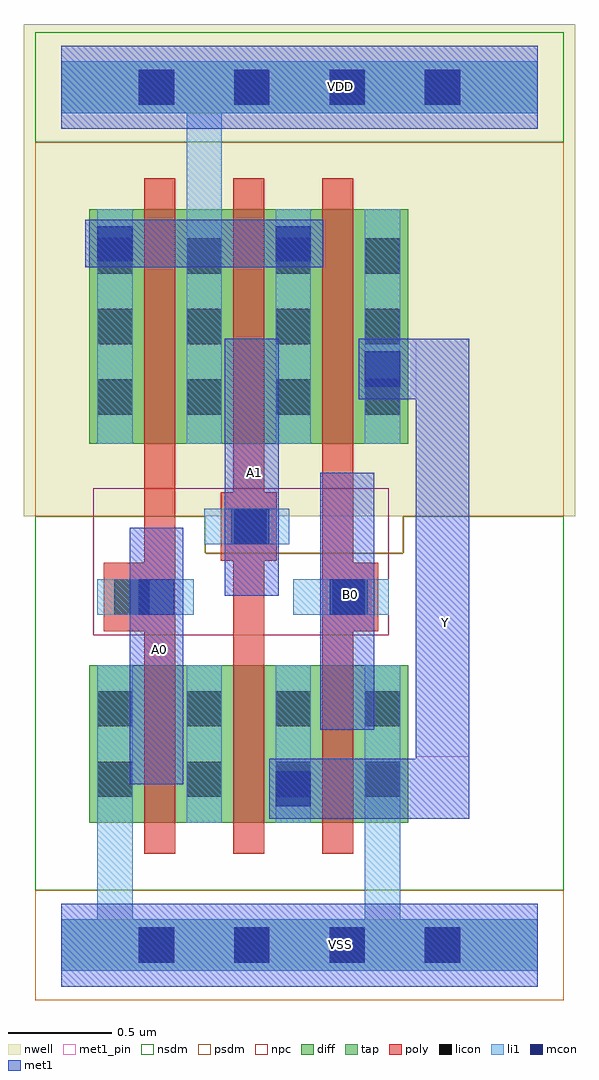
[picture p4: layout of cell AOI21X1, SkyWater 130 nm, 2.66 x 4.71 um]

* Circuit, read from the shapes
.subckt AOI21X1 A0 A1 B0 VDD VSS Y
XM1 n1 A0 VSS VSS sky130_fd_pr__nfet_01v8 w=0.76 l=0.15
XM2 Y A1 n1 VSS sky130_fd_pr__nfet_01v8 w=0.76 l=0.15
XM3 VSS B0 Y VSS sky130_fd_pr__nfet_01v8 w=0.76 l=0.15
XM4 VDD A0 n2 VDD sky130_fd_pr__pfet_01v8 w=1.13 l=0.15
XM5 n2 A1 VDD VDD sky130_fd_pr__pfet_01v8 w=1.13 l=0.15
XM6 Y B0 n2 VDD sky130_fd_pr__pfet_01v8 w=1.13 l=0.15
.ends

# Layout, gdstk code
from math import pi, radians
import gdstk
lib = gdstk.Library(unit=1e-6, precision=1e-09)
def R(c, l, rs):  # rectangles x0, y0, x1, y1
    for r in rs: c.add(gdstk.rectangle(r[:2], r[2:], *l))
def A(c, l, x, y, w, h, nx, ny, dx, dy):  # array of equal rectangles
    R(c, l, [(x+i*dx, y+j*dy, x+i*dx+w, y+j*dy+h) for i in range(nx) for j in range(ny)])
def P(c, l, *ps):  # polygons
    for p in ps: c.add(gdstk.Polygon(p, *l))
nwell = (64, 20)
diff = (65, 20)
tap = (65, 44)
poly = (66, 20)
licon = (66, 44)
li1 = (67, 20)
mcon = (67, 44)
met1_pin = (68, 16)
met1 = (68, 20)
nsdm = (93, 44)
psdm = (94, 20)
npc = (95, 20)

nfet_01v8_cdns_716492285 = lib.new_cell('nfet_01v8_CDNS_71649228522221')
R(nfet_01v8_cdns_716492285, diff, [(-0.265,0,0,0.76), (0,0,0.15,0.76), (0.15,0,0.205,0.76)])
R(nfet_01v8_cdns_716492285, poly, [(0,-0.15,0.15,-0.095), (0,-0.095,0.15,0), (0,0,0.15,0.76), (0,0.76,0.15,0.855), (0,0.855,0.15,0.91)])
R(nfet_01v8_cdns_716492285, licon, [(-0.225,0.125,-0.055,0.295), (-0.225,0.465,-0.055,0.635)])
R(nfet_01v8_cdns_716492285, li1, [(-0.225,0,-0.055,0.76)])
R(nfet_01v8_cdns_716492285, nsdm, [(-0.405,-0.13,0.215,0.89)])

pfet_01v8_cdns_716492285 = lib.new_cell('pfet_01v8_CDNS_71649228522227')
R(pfet_01v8_cdns_716492285, nwell, [(-0.405,-0.18,0.555,1.31)])
R(pfet_01v8_cdns_716492285, diff, [(-0.225,0,0,1.13), (0,0,0.15,1.13), (0.15,0,0.375,1.13)])
R(pfet_01v8_cdns_716492285, poly, [(0,-0.15,0.15,-0.095), (0,-0.095,0.15,0), (0,0,0.15,1.13), (0,1.13,0.15,1.225), (0,1.225,0.15,1.28)])
A(pfet_01v8_cdns_716492285, licon, -0.225, 0.14, 0.17, 0.17, 1, 3, 0, 0.34)
A(pfet_01v8_cdns_716492285, licon, 0.205, 0.14, 0.17, 0.17, 1, 3, 0, 0.34)
R(pfet_01v8_cdns_716492285, li1, [(-0.225,0,-0.055,1.13), (0.205,0,0.375,1.13)])
R(pfet_01v8_cdns_716492285, psdm, [(-0.235,-0.13,0.385,1.26)])

c_pfet_01v8_cdns_716492285 = lib.new_cell('pfet_01v8_CDNS_7164922852273')
R(c_pfet_01v8_cdns_716492285, nwell, [(-0.235,-0.18,0.595,1.31)])
R(c_pfet_01v8_cdns_716492285, diff, [(-0.055,0,0,1.13), (0,0,0.15,1.13), (0.15,0,0.415,1.13)])
R(c_pfet_01v8_cdns_716492285, poly, [(0,-0.15,0.15,-0.095), (0,-0.095,0.15,0), (0,0,0.15,1.13), (0,1.13,0.15,1.225), (0,1.225,0.15,1.28)])
A(c_pfet_01v8_cdns_716492285, licon, 0.205, 0.14, 0.17, 0.17, 1, 3, 0, 0.34)
R(c_pfet_01v8_cdns_716492285, li1, [(0.205,0,0.375,1.13)])
R(c_pfet_01v8_cdns_716492285, psdm, [(-0.065,-0.13,0.555,1.26)])

c_nfet_01v8_cdns_716492285 = lib.new_cell('nfet_01v8_CDNS_71649228522219')
R(c_nfet_01v8_cdns_716492285, diff, [(-0.225,0,0,0.76), (0,0,0.15,0.76), (0.15,0,0.375,0.76)])
R(c_nfet_01v8_cdns_716492285, poly, [(0,-0.15,0.15,-0.095), (0,-0.095,0.15,0), (0,0,0.15,0.76), (0,0.76,0.15,0.855), (0,0.855,0.15,0.91)])
R(c_nfet_01v8_cdns_716492285, licon, [(0.205,0.125,0.375,0.295), (0.205,0.465,0.375,0.635)])
R(c_nfet_01v8_cdns_716492285, li1, [(0.205,0,0.375,0.76)])
R(c_nfet_01v8_cdns_716492285, nsdm, [(-0.235,-0.13,0.385,0.89)])

c_nfet_01v8_cdns_716492285_ = lib.new_cell('nfet_01v8_CDNS_7164922852220')
R(c_nfet_01v8_cdns_716492285_, diff, [(-0.265,0,0,0.76), (0,0,0.15,0.76), (0.15,0,0.205,0.76)])
R(c_nfet_01v8_cdns_716492285_, poly, [(0,-0.15,0.15,-0.095), (0,-0.095,0.15,0), (0,0,0.15,0.76), (0,0.76,0.15,0.855), (0,0.855,0.15,0.91)])
R(c_nfet_01v8_cdns_716492285_, licon, [(-0.225,0.125,-0.055,0.295), (-0.225,0.465,-0.055,0.635)])
R(c_nfet_01v8_cdns_716492285_, li1, [(-0.225,0,-0.055,0.76)])
R(c_nfet_01v8_cdns_716492285_, nsdm, [(-0.405,-0.13,0.215,0.89)])

c_pfet_01v8_cdns_716492285_ = lib.new_cell('pfet_01v8_CDNS_716492285224')
R(c_pfet_01v8_cdns_716492285_, nwell, [(-0.235,-0.18,0.595,1.31)])
R(c_pfet_01v8_cdns_716492285_, diff, [(-0.055,0,0,1.13), (0,0,0.15,1.13), (0.15,0,0.415,1.13)])
R(c_pfet_01v8_cdns_716492285_, poly, [(0,-0.15,0.15,-0.095), (0,-0.095,0.15,0), (0,0,0.15,1.13), (0,1.13,0.15,1.225), (0,1.225,0.15,1.28)])
A(c_pfet_01v8_cdns_716492285_, licon, 0.205, 0.14, 0.17, 0.17, 1, 3, 0, 0.34)
R(c_pfet_01v8_cdns_716492285_, li1, [(0.205,0,0.375,1.13)])
R(c_pfet_01v8_cdns_716492285_, psdm, [(-0.065,-0.13,0.555,1.26)])

l1m1_c_cdns_716492285222 = lib.new_cell('L1M1_C_CDNS_716492285222')
R(l1m1_c_cdns_716492285222, li1, [(-0.085,-0.165,0.085,0.165)])
R(l1m1_c_cdns_716492285222, mcon, [(-0.085,-0.085,0.085,0.085)])
R(l1m1_c_cdns_716492285222, met1, [(-0.115,-0.145,0.115,0.145)])

l1m1_c_cdns_716492285226 = lib.new_cell('L1M1_C_CDNS_716492285226')
R(l1m1_c_cdns_716492285226, li1, [(-0.085,-0.165,0.085,0.165)])
R(l1m1_c_cdns_716492285226, mcon, [(-0.085,-0.085,0.085,0.085)])
R(l1m1_c_cdns_716492285226, met1, [(-0.145,-0.115,0.145,0.115)])

pyl1con_c_cdns_716492285 = lib.new_cell('PYL1CON_C_CDNS_716492285220')
R(pyl1con_c_cdns_716492285, poly, [(-0.135,-0.165,0.135,0.165)])
R(pyl1con_c_cdns_716492285, licon, [(-0.085,-0.085,0.085,0.085)])
R(pyl1con_c_cdns_716492285, npc, [(-0.185,-0.185,0.185,0.185)])

l1m1_c_cdns_716492285223 = lib.new_cell('L1M1_C_CDNS_716492285223')
R(l1m1_c_cdns_716492285223, li1, [(-0.165,-0.085,0.165,0.085)])
R(l1m1_c_cdns_716492285223, mcon, [(-0.085,-0.085,0.085,0.085)])
R(l1m1_c_cdns_716492285223, met1, [(-0.115,-0.145,0.115,0.145)])

aoi21x1 = lib.new_cell('AOI21X1')
R(aoi21x1, nwell, [(-0.18,2.07,2.48,4.305), (-0.18,3.875,2.48,4.445)])
A(aoi21x1, licon, 0.375, -0.085, 0.17, 0.17, 4, 2, 0.46, 4.14)
R(aoi21x1, licon, [(0.605,0.715,0.775,0.885), (0.605,1.055,0.775,1.225)])
A(aoi21x1, mcon, 0.375, -0.085, 0.17, 0.17, 4, 2, 0.46, 4.14)
R(aoi21x1, met1_pin, [(0.33,0.775,0.59,2.015), (1.71,0.91,1.97,2.925), (1.25,1.04,1.51,2.28), (0.79,1.685,1.05,2.925)])
R(aoi21x1, nsdm, [(-0.125,3.875,2.425,4.405), (-0.125,3.93,2.425,4.35)])
P(aoi21x1, nsdm, [(2.425,2.07),(1.65,2.07),(1.65,1.89),(0.695,1.89),(0.695,2.07),(-0.125,2.07),(-0.125,0.265),(2.425,0.265)])
R(aoi21x1, psdm, [(-0.125,-0.265,2.425,0.265), (-0.125,-0.21,2.425,0.21)])
P(aoi21x1, psdm, [(2.425,3.875),(-0.125,3.875),(-0.125,2.07),(0.695,2.07),(0.695,1.89),(1.65,1.89),(1.65,2.07),(2.425,2.07)])
R(aoi21x1, npc, [(0.155,1.495,1.58,2.205)])
aoi21x1.add(gdstk.FlexPath([(1.335,1.5),(1.335,2.27)], 0.15, ends="flush", simple_path=True, layer=66, datatype=20))  # poly
aoi21x1.add(gdstk.FlexPath([(0.905,1.5),(0.905,2.27)], 0.15, ends="flush", simple_path=True, layer=66, datatype=20))  # poly
aoi21x1.add(gdstk.FlexPath([(0.475,1.5),(0.475,2.27)], 0.15, ends="flush", simple_path=True, layer=66, datatype=20))  # poly
aoi21x1.add(gdstk.FlexPath([(1.55,0),(2.3,0)], 0.25, ends=(0.085, 0), simple_path=True, layer=67, datatype=20))  # li1
aoi21x1.add(gdstk.FlexPath([(0.26,0),(1.55,0)], 0.25, ends=(0.085, 0.085), simple_path=True, layer=67, datatype=20))  # li1
aoi21x1.add(gdstk.FlexPath([(0.69,4.14),(2.3,4.14)], 0.25, ends=(0.085, 0), simple_path=True, layer=67, datatype=20))  # li1
aoi21x1.add(gdstk.FlexPath([(0,4.14),(0.69,4.14)], 0.25, ends=(0, 0.085), simple_path=True, layer=67, datatype=20))  # li1
aoi21x1.add(gdstk.FlexPath([(1.55,0.59),(1.55,0)], 0.17, ends=(0, 0.125), simple_path=True, layer=67, datatype=20))  # li1
aoi21x1.add(gdstk.FlexPath([(0.69,3.55),(0.69,4.14)], 0.17, ends=(0, 0.125), simple_path=True, layer=67, datatype=20))  # li1
aoi21x1.add(gdstk.FlexPath([(0.26,0.59),(0.26,0)], 0.17, ends=(0, 0.125), simple_path=True, layer=67, datatype=20))  # li1
aoi21x1.add(gdstk.FlexPath([(0,0),(0.26,0)], 0.25, ends=(0, 0.085), simple_path=True, layer=67, datatype=20))  # li1
aoi21x1.add(gdstk.FlexPath([(0.175,1.68),(0.525,1.68)], 0.17, ends="flush", simple_path=True, layer=67, datatype=20))  # li1
aoi21x1.add(gdstk.FlexPath([(1.12,1.68),(1.58,1.68)], 0.17, ends="flush", simple_path=True, layer=67, datatype=20))  # li1
aoi21x1.add(gdstk.FlexPath([(0.69,2.02),(1.09,2.02)], 0.17, ends="flush", simple_path=True, layer=67, datatype=20))  # li1
aoi21x1.add(gdstk.FlexPath([(1.215,1.68),(1.56,1.68)], 0.17, ends="flush", simple_path=True, layer=67, datatype=20))  # li1
aoi21x1.add(gdstk.FlexPath([(0.295,1.68),(0.64,1.68)], 0.17, ends="flush", simple_path=True, layer=67, datatype=20))  # li1
aoi21x1.add(gdstk.FlexPath([(0.755,2.02),(1.1,2.02)], 0.17, ends="flush", simple_path=True, layer=67, datatype=20))  # li1
aoi21x1.add(gdstk.FlexPath([(0.69,0.59),(0.69,1.35)], 0.17, ends="flush", simple_path=True, layer=67, datatype=20))  # li1
aoi21x1.add(gdstk.FlexPath([(0,4.14),(2.3,4.14)], 0.4, ends="flush", simple_path=True, layer=68, datatype=16))  # met1_pin
aoi21x1.add(gdstk.FlexPath([(0,0),(2.3,0)], 0.4, ends="flush", simple_path=True, layer=68, datatype=16))  # met1_pin
aoi21x1.add(gdstk.FlexPath([(0,4.14),(2.3,4.14)], 0.4, ends="flush", simple_path=True, layer=68, datatype=20))  # met1
aoi21x1.add(gdstk.FlexPath([(1.84,2.78),(1.55,2.78)], 0.29, ends="flush", simple_path=True, layer=68, datatype=20))  # met1
aoi21x1.add(gdstk.FlexPath([(0.46,2.015),(0.46,0.775)], 0.26, ends="flush", simple_path=True, layer=68, datatype=20))  # met1
aoi21x1.add(gdstk.FlexPath([(1.84,0.755),(1.12,0.755)], 0.29, ends=(0.13, 0.115), simple_path=True, layer=68, datatype=20))  # met1
aoi21x1.add(gdstk.FlexPath([(1.84,2.925),(1.84,0.755)], 0.26, ends=(0, 0.145), simple_path=True, layer=68, datatype=20))  # met1
aoi21x1.add(gdstk.FlexPath([(0,0),(2.3,0)], 0.4, ends="flush", simple_path=True, layer=68, datatype=20))  # met1
aoi21x1.add(gdstk.FlexPath([(0.92,1.685),(0.92,2.925)], 0.26, ends="flush", simple_path=True, layer=68, datatype=20))  # met1
aoi21x1.add(gdstk.FlexPath([(1.38,2.28),(1.38,1.04)], 0.26, ends="flush", simple_path=True, layer=68, datatype=20))  # met1
aoi21x1.add(gdstk.FlexPath([(0.405,3.385),(0.975,3.385)], 0.23, ends="flush", simple_path=True, layer=68, datatype=20))  # met1
aoi21x1.add(gdstk.FlexPath([(0,4.14),(2.3,4.14)], 0.25, ends="flush", simple_path=True, layer=65, datatype=44))  # tap
aoi21x1.add(gdstk.FlexPath([(0,0),(2.3,0)], 0.25, ends="flush", simple_path=True, layer=65, datatype=44))  # tap
aoi21x1.add(gdstk.Reference(nfet_01v8_cdns_716492285, (0.4,0.59)))
aoi21x1.add(gdstk.Reference(pfet_01v8_cdns_716492285, (0.83,2.42)))
aoi21x1.add(gdstk.Reference(c_pfet_01v8_cdns_716492285, (1.26,2.42)))
aoi21x1.add(gdstk.Reference(c_nfet_01v8_cdns_716492285, (0.83,0.59)))
aoi21x1.add(gdstk.Reference(c_nfet_01v8_cdns_716492285_, (1.41,0.59), rotation=pi, x_reflection=True))
aoi21x1.add(gdstk.Reference(c_pfet_01v8_cdns_716492285_, (0.55,2.42), rotation=pi, x_reflection=True))
aoi21x1.add(gdstk.Reference(l1m1_c_cdns_716492285222, (1.55,2.78)))
aoi21x1.add(gdstk.Reference(l1m1_c_cdns_716492285222, (1.12,0.755)))
aoi21x1.add(gdstk.Reference(l1m1_c_cdns_716492285226, (1.12,3.385)))
aoi21x1.add(gdstk.Reference(l1m1_c_cdns_716492285226, (0.26,3.385)))
aoi21x1.add(gdstk.Reference(pyl1con_c_cdns_716492285, (0.905,2.02)))
aoi21x1.add(gdstk.Reference(pyl1con_c_cdns_716492285, (0.34,1.68)))
aoi21x1.add(gdstk.Reference(pyl1con_c_cdns_716492285, (1.395,1.68)))
aoi21x1.add(gdstk.Reference(l1m1_c_cdns_716492285223, (0.92,2.02), x_reflection=True))
aoi21x1.add(gdstk.Reference(l1m1_c_cdns_716492285223, (0.46,1.68)))
aoi21x1.add(gdstk.Reference(l1m1_c_cdns_716492285223, (1.38,1.68)))
aoi21x1.add(gdstk.Label('A0', (0.475,1.425), layer=68, texttype=5))
aoi21x1.add(gdstk.Label('A1', (0.935,2.28), layer=68, texttype=5))
aoi21x1.add(gdstk.Label('Y', (1.855,1.555), layer=68, texttype=5))
aoi21x1.add(gdstk.Label('B0', (1.395,1.69), layer=68, texttype=5))
aoi21x1.add(gdstk.Label('VSS', (1.35,0.005), layer=68, texttype=5))
aoi21x1.add(gdstk.Label('VDD', (1.35,4.145), layer=68, texttype=5))

lib.write_gds('AOI21X1.gds')
